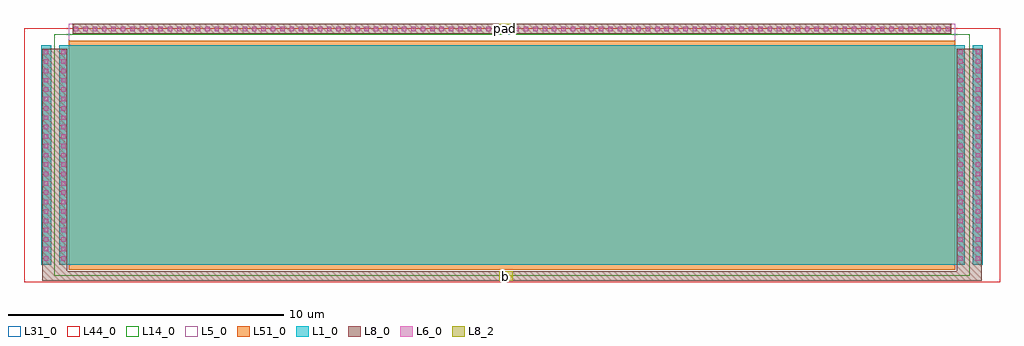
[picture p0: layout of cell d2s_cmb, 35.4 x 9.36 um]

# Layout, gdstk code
import gdstk
lib = gdstk.Library(unit=1e-6, precision=1e-09)
def R(c, l, rs):  # rectangles x0, y0, x1, y1
    for r in rs: c.add(gdstk.rectangle(r[:2], r[2:], *l))
def A(c, l, x, y, w, h, nx, ny, dx, dy):  # array of equal rectangles
    R(c, l, [(x+i*dx, y+j*dy, x+i*dx+w, y+j*dy+h) for i in range(nx) for j in range(ny)])
L1_0 = (1, 0)
L5_0 = (5, 0)
L6_0 = (6, 0)
L8_0 = (8, 0)
L8_2 = (8, 2)
L14_0 = (14, 0)
L31_0 = (31, 0)
L44_0 = (44, 0)
L51_0 = (51, 0)

d2s_cmb = lib.new_cell('d2s_cmb')
R(d2s_cmb, L1_0, [(40.39,42.08,40.75,50.04), (41.05,42.08,73.89,50.04), (74.19,42.08,74.55,50.04)])
R(d2s_cmb, L5_0, [(41.39,41.9,73.55,50.82)])
A(d2s_cmb, L6_0, 40.49, 42.24, 0.16, 0.16, 1, 23, 0, 0.34)
A(d2s_cmb, L6_0, 41.12, 42.24, 0.16, 0.16, 1, 23, 0, 0.34)
A(d2s_cmb, L6_0, 73.66, 42.24, 0.16, 0.16, 1, 23, 0, 0.34)
A(d2s_cmb, L6_0, 74.29, 42.24, 0.16, 0.16, 1, 23, 0, 0.34)
A(d2s_cmb, L6_0, 41.58, 50.56, 0.16, 0.16, 94, 1, 0.34, 0)
R(d2s_cmb, L8_0, [(40.44,41.5,41.33,49.93), (40.44,41.5,74.5,41.85), (73.61,41.5,74.5,49.93), (41.53,50.46,73.41,50.82)])
R(d2s_cmb, L8_2, [(57,41.5,57.5,41.85), (57,50.46,57.5,50.82)])
R(d2s_cmb, L14_0, [(40.87,41.68,74.07,50.44)])
R(d2s_cmb, L31_0, [(39.77,41.46,75.17,50.66)])
R(d2s_cmb, L44_0, [(39.77,41.46,75.17,50.66)])
R(d2s_cmb, L51_0, [(41.39,41.9,73.55,50.22)])
d2s_cmb.add(gdstk.Label('b', (57.25,41.675), layer=8, texttype=25))
d2s_cmb.add(gdstk.Label('pad', (57.25,50.64), layer=8, texttype=25))

lib.write_gds('d2s_cmb.gds')
